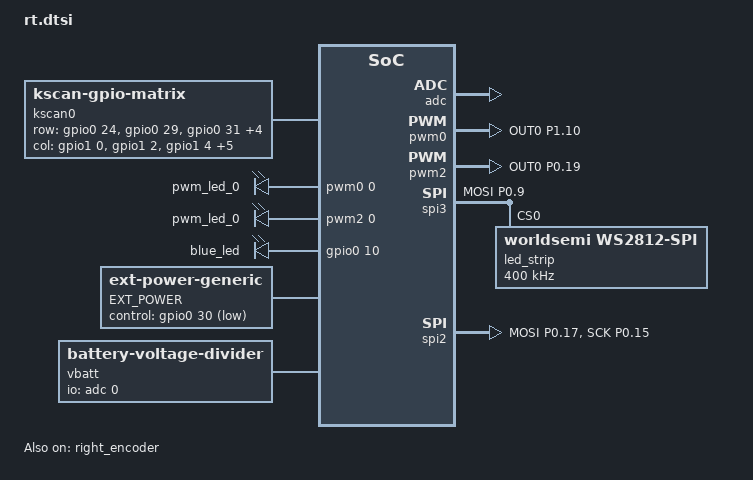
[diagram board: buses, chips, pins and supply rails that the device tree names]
/*
 * 右半（右手）的硬件：kscan 矩阵、EXT_POWER、编码器、屏幕 SPI、模块插座引脚。
 *
 * Copyright (c) 2025 ZitaoTech
 * SPDX-License-Identifier: MIT
 *
 * 被 rt_slaver.dts / rt_master.dts 包含 —— 两侧角色（外设/中央）的硬件完全相同，
 * 差别只在角色：外设侧不用加东西，中央侧由 rt_master.dts 补「对侧模块走 split
 * 入站」的节点。67 格变换表、编码器、传感器、USB 串口、flash 分区在
 * sofle_dongle.dtsi 里（五块板共用）。
 */

#include "sofle_dongle.dtsi"

/ {
    chosen {
        zmk,backlight = &backlight;
        zmk,battery = &vbatt;
        zmk,keyboard_backlight = &keyboard_backlight;
        zmk,underglow = &led_strip;
    }; 
    kscan0: kscan {
        compatible = "zmk,kscan-gpio-matrix";
        diode-direction = "col2row";
        wakeup-source;
        row-gpios
            = <&gpio0 24 (GPIO_ACTIVE_HIGH | GPIO_PULL_DOWN)>
            , <&gpio0 29  (GPIO_ACTIVE_HIGH | GPIO_PULL_DOWN)>
            , <&gpio0 31 (GPIO_ACTIVE_HIGH | GPIO_PULL_DOWN)>
            , <&gpio0 3  (GPIO_ACTIVE_HIGH | GPIO_PULL_DOWN)>
            , <&gpio0 26  (GPIO_ACTIVE_HIGH | GPIO_PULL_DOWN)>
            , <&gpio0 12  (GPIO_ACTIVE_HIGH | GPIO_PULL_DOWN)>
            , <&gpio1 9  (GPIO_ACTIVE_HIGH | GPIO_PULL_DOWN)>
            ;
        col-gpios
            = <&gpio1 0  GPIO_ACTIVE_HIGH>
            , <&gpio1 2  GPIO_ACTIVE_HIGH>
            , <&gpio1 4  GPIO_ACTIVE_HIGH>
            , <&gpio1 15 GPIO_ACTIVE_HIGH>
            , <&gpio1 14 GPIO_ACTIVE_HIGH>
            , <&gpio0 28 GPIO_ACTIVE_HIGH>
            , <&gpio0 5 GPIO_ACTIVE_HIGH>
            , <&gpio0 27 GPIO_ACTIVE_HIGH>
            ;
    };

    keyboard_backlight: pwmledfo{
        compatible = "pwm-leds";
        pwm_led_0 {
            pwms = <&pwm0 0 PWM_USEC(2000) PWM_POLARITY_NORMAL>;
        };
    };
    
    backlight: pwmleds {
        compatible = "pwm-leds";
        pwm_led_0 {
            pwms = <&pwm2 0 PWM_MSEC(10) PWM_POLARITY_NORMAL>;
        };
    };


    leds {
        compatible = "gpio-leds";
        blue_led: led_0 {
            gpios = <&gpio0 10 GPIO_ACTIVE_HIGH>;
        };
    };
    // Node name must match original "EXT_POWER" label to preserve user settings.
    EXT_POWER {
        compatible = "zmk,ext-power-generic";
        control-gpios = <&gpio0 30 GPIO_ACTIVE_LOW>;
    };
    vbatt: vbatt {
        compatible = "zmk,battery-voltage-divider";
        io-channels = <&adc 0>;
        output-ohms = <2000000>;
        full-ohms = <2820000>;  // 2000000 + 820000
    };


};

&default_transform {
    col-offset = <9>;
};

&adc {
    status = "okay";
};

&gpiote {
    status = "okay";
};

&gpio0 {
    status = "okay";
};

&gpio1 {
    status = "okay";
};

&pwm0 {
    status = "okay";
    pinctrl-0 = <&pwm0_default>;
    pinctrl-1 = <&pwm0_sleep>;
    pinctrl-names = "default", "sleep";
};

&pwm2 {
    status = "okay";
    pinctrl-0 = <&pwm2_default>;
    pinctrl-1 = <&pwm2_sleep>;
    pinctrl-names = "default", "sleep";
};



&right_encoder {
    status = "okay";
};

&spi3 {
    compatible = "nordic,nrf-spim";
    status = "okay";

    pinctrl-0 = <&spi3_default>;
    pinctrl-1 = <&spi3_sleep>;
    pinctrl-names = "default", "sleep";

    led_strip: ws2812@0 {
        compatible = "worldsemi,ws2812-spi";
        /* SPI */
        reg = <0>; /* ignored, but necessary for SPI bindings */
        spi-max-frequency = <400000>;
        /* WS2812 */
        chain-length = <1>; /* number of LEDs */
        spi-one-frame = <0x70>;
        spi-zero-frame = <0x40>;
        color-mapping = <LED_COLOR_ID_GREEN
                         LED_COLOR_ID_RED
                         LED_COLOR_ID_BLUE>;
    };
};


lpm_view_spi: &spi2 {
    compatible = "nordic,nrf-spim";
    pinctrl-0 = <&spi2_default>;
    pinctrl-1 = <&spi2_sleep>;
    pinctrl-names = "default", "sleep";
    cs-gpios = <&gpio0 13 (GPIO_ACTIVE_HIGH | GPIO_PULL_DOWN) >;
};


&pinctrl {

        spi3_default: spi3_default {
        group1 {
            psels = <NRF_PSEL(SPIM_MOSI, 0, 9)>;    // Setting for RGB light, unreal
        };
    };

    spi3_sleep: spi3_sleep {
        group1 {
            psels = <NRF_PSEL(SPIM_MOSI, 0, 9)>;
            low-power-enable;
        };
    };

    pwm0_default:pwm0_default{
        group1{
            psels = <NRF_PSEL(PWM_OUT0, 1, 10)>; // Keyboard backlight
        };
    };

    pwm0_sleep: pwm0_sleep {
        group1 {
            psels = <NRF_PSEL(PWM_OUT0, 1, 10)>;
            bias-pull-down;
        };
    };

    pwm2_default: pwm2_default {
        group1 {
            psels = <NRF_PSEL(PWM_OUT0, 0, 19)>; // unreal backlight gpio
        };
    };

    pwm2_sleep: pwm2_sleep {
        group1 {
            psels = <NRF_PSEL(PWM_OUT0, 0, 19)>;
            bias-pull-down;
        };
    };

    spi2_default: spi2_default {
        group1 {
            psels = <NRF_PSEL(SPIM_MOSI, 0, 17)>,
            <NRF_PSEL(SPIM_SCK, 0, 15)>;
        };
    };
    spi2_sleep: spi2_sleep {
        group1 {
            psels = <NRF_PSEL(SPIM_MOSI, 0, 17)>,
            <NRF_PSEL(SPIM_SCK, 0, 15)>;
            low-power-enable;
        };
    };

};

/* =========================================================================
 * 模块插座（右座）的引脚：插座上的哪根线接到右板 MCU 的哪只脚。
 *
 * 右座目前只有小红点的资料（MODULAR_POINTER_ANALYSIS.md §4.2）：
 *   小红点 MOTION  P0.14  （引脚号在 Kconfig.defconfig 里）
 *   小红点 I2C SDA P0.07
 *   小红点 I2C SCL P1.08
 *   模块主 LED     P0.04
 *
 * 右座的轨迹球/触摸板引脚源码里没有，所以那边保持「未定义」，真去编
 * side=right + ball/pad 的组合会在 C 里 #error 拒绝（见各驱动开头）。
 *
 * 本段同时补上了 shield（bbtrackball / trackpoint）里 &pwm1 引用的
 * pwm1_default / pwm1_sleep —— 否则右板上那两个节点是悬空的。
 * ========================================================================= */
&pinctrl {
    /* 模块主 LED（小红点那侧没有第二颗 LED，所以只有 pwm1） */
    pwm1_default: pwm1_default {
        group1 {
            psels = <NRF_PSEL(PWM_OUT0, 0, 4)>;
        };
    };

    pwm1_sleep: pwm1_sleep {
        group1 {
            psels = <NRF_PSEL(PWM_OUT0, 0, 4)>;
            bias-pull-down;
        };
    };

    /* 模块插座上的 I2C，小红点用 */
    i2c0_default: i2c0_default {
        group1 {
            psels = <NRF_PSEL(TWIM_SDA, 0, 7)>,
                    <NRF_PSEL(TWIM_SCL, 1, 8)>;
        };
    };

    i2c0_sleep: i2c0_sleep {
        group1 {
            psels = <NRF_PSEL(TWIM_SDA, 0, 7)>,
                    <NRF_PSEL(TWIM_SCL, 1, 8)>;
            low-power-enable;
        };
    };
};
